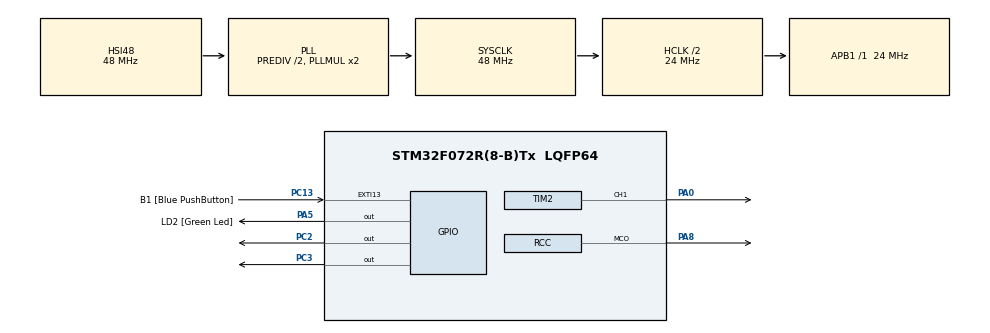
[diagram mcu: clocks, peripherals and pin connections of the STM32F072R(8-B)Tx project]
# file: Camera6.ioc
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Mcu.Family=STM32F0
Mcu.Name=STM32F072R(8-B)Tx
Mcu.Package=LQFP64
PA0.Signal=S_TIM2_CH1_ETR
PA13.GPIO_Label=TMS
PA13.Mode=Serial_Wire
PA13.Signal=SYS_SWDIO
PA14.GPIO_Label=TCK
PA14.Mode=Serial_Wire
PA14.Signal=SYS_SWCLK
PA2.GPIO_Label=USART_TX
PA2.GPIO_Mode=GPIO_MODE_AF_PP
PA2.GPIO_PuPd=GPIO_NOPULL
PA2.GPIO_Speed=GPIO_SPEED_FREQ_LOW
PA2.Signal=USART2_TX
PA3.GPIO_Label=USART_RX
PA3.GPIO_Mode=GPIO_MODE_AF_PP
PA3.GPIO_PuPd=GPIO_NOPULL
PA3.GPIO_Speed=GPIO_SPEED_FREQ_LOW
PA3.Signal=USART2_RX
PA5.GPIO_Label=LD2 [Green Led]
PA5.GPIO_Mode=GPIO_MODE_OUTPUT_PP
PA5.GPIO_PuPd=GPIO_NOPULL
PA5.GPIO_Speed=GPIO_SPEED_FREQ_LOW
PA5.Signal=GPIO_Output
PA8.GPIO_Speed=GPIO_SPEED_FREQ_HIGH
PA8.Mode=Clock-out
PA8.Signal=RCC_MCO
PC13.GPIO_Label=B1 [Blue PushButton]
PC13.GPIO_ModeDefaultEXTI=GPIO_MODE_IT_FALLING
PC13.Signal=GPXTI13
PC14-OSC32_IN.Signal=RCC_OSC32_IN
PC15-OSC32_OUT.Signal=RCC_OSC32_OUT
PC2.GPIO_ModeDefaultOutputPP=GPIO_MODE_OUTPUT_OD
PC2.GPIO_PuPd=GPIO_NOPULL
PC2.Signal=GPIO_Output
PC3.GPIO_ModeDefaultOutputPP=GPIO_MODE_OUTPUT_OD
PC3.GPIO_PuPd=GPIO_NOPULL
PC3.Signal=GPIO_Output
PF0-OSC_IN.Mode=HSE-External-Oscillator
PF0-OSC_IN.Signal=RCC_OSC_IN
PF1-OSC_OUT.Mode=HSE-External-Oscillator
PF1-OSC_OUT.Signal=RCC_OSC_OUT
ProjectManager.HeapSize=0x200
ProjectManager.StackSize=0x400
ProjectManager.TargetToolchain=STM32CubeIDE
RCC.AHBCLKDivider=RCC_SYSCLK_DIV2
RCC.AHBFreq_Value=24000000
RCC.APB1Freq_Value=24000000
RCC.APB1TimFreq_Value=24000000
RCC.FLatency-AdvancedSettings=FLASH_LATENCY_1
RCC.HCLKFreq_Value=24000000
RCC.HSE_VALUE=32000000
RCC.PLLDivider=RCC_PREDIV_DIV2
RCC.PLLSourceVirtual=RCC_PLLSOURCE_HSI48
RCC.PREFETCH_ENABLE-AdvancedSettings=1
RCC.RCC_MCODiv=RCC_MCODIV_2
RCC.RCC_MCOSource=RCC_MCO1SOURCE_PLLCLK
RCC.SYSCLKFreq_VALUE=48000000
RCC.SYSCLKSource=RCC_SYSCLKSOURCE_PLLCLK
SH.S_TIM2_CH1_ETR.0=TIM2_CH1,PWM Generation1 CH1
TIM2.AutoReloadPreload=TIM_AUTORELOAD_PRELOAD_ENABLE
TIM2.Channel-PWM\ Generation1\ CH1=TIM_CHANNEL_1
TIM2.Period=1
VP_TIM2_VS_ClockSourceINT.Mode=Internal
board=NUCLEO-F072RB

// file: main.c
/* USER CODE BEGIN Header */
/**
  ******************************************************************************
  * @file           : main.c
  * @brief          : Main program body
  ******************************************************************************
  * @attention
  *
  * Copyright (c) 2024 STMicroelectronics.
  * All rights reserved.
  *
  * This software is licensed under terms that can be found in the LICENSE file
  * in the root directory of this software component.
  * If no LICENSE file comes with this software, it is provided AS-IS.
  *
  ******************************************************************************
  */
/* USER CODE END Header */
#include "main.h"
#include "camera_regs.h"

TIM_HandleTypeDef htim2;

void SystemClock_Config(void);
static void MX_GPIO_Init(void);
static void MX_TIM2_Init(void);

/* USER CODE BEGIN 0 */

// This code can be used as simple configurator for camera OV7670 from device Nucleo-F072RB over SCCB (I2C).
// (For example to get raw data from generated timings in expect mode assure by device like VGA,QVGA,QQVGA & RGB,YUV).
// RCC-MCO (PA8) have clock configured to 24MHz.
// PC2/PC3 GPIO have Open - Drain.
// Pin (Device - Camera): PC2 - SDA, PC3 - SCL, PA8 - XCLK, RESET - 3.3V, PWDN - GND (Power 3.3V).
// Tested device have added 4,7k resistors to pull-up for SDA/SCL.

// Very Thanks Good Man qitas
// https://raw.githubusercontent.com/qitas/NBCoAP/110fb9c6017a120977071c8e182acabf60b56c00/SYS/SCCB.c
// https://raw.githubusercontent.com/qitas/NBCoAP/110fb9c6017a120977071c8e182acabf60b56c00/SYS/SCCB.h

#define SCCB_ID_W 0x42
#define SCCB_ID_R 0x43
#define OV7670_OK 0
#define OV7670_ERROR 1
#define HALDELAY 50

typedef unsigned char u8;

static void delay_us(unsigned int us)
{
//	int len; for (;us > 0; us --) for (len = 0; len < 20; len++ );
	int len; for (;us > 0; us --) HAL_GetTick();
//	HAL_Delay(us);
//	uint32_t tickstart = HAL_GetTick();
//	uint32_t wait = us;
//
//	/* Add a period to guaranty minimum wait */
//	if (wait < HAL_MAX_DELAY)
//	{
//	wait += (uint32_t)(uwTickFreq);
//	}
//
//	while((HAL_GetTick() - tickstart) < wait)
//	{
//	}
}

#define SDA_PORT GPIOC
#define SCL_PORT GPIOC
#define SDA_PORT_PIN GPIO_PIN_2
#define SCL_PORT_PIN GPIO_PIN_3

#define SDA_IN()  SDAPortIN()
#define SDA_OUT() SDAPortOUT();

#define SDA_H  HAL_GPIO_WritePin(SDA_PORT, SDA_PORT_PIN, GPIO_PIN_SET)
#define SDA_L  HAL_GPIO_WritePin(SDA_PORT, SDA_PORT_PIN, GPIO_PIN_RESET)

#define SCL_H  HAL_GPIO_WritePin(SCL_PORT, SCL_PORT_PIN, GPIO_PIN_SET)
#define SCL_L  HAL_GPIO_WritePin(SCL_PORT, SCL_PORT_PIN, GPIO_PIN_RESET)

#define READ_SDA HAL_GPIO_ReadPin(SDA_PORT, SDA_PORT_PIN)

static void SDAPortIN(void)
{
	GPIO_InitTypeDef  GPIO_InitStructure;
	memset(&GPIO_InitStructure,0x0,sizeof(GPIO_InitStructure));
	GPIO_InitStructure.Pin = SDA_PORT_PIN;
	GPIO_InitStructure.Speed = GPIO_SPEED_LOW;
	GPIO_InitStructure.Mode =  GPIO_MODE_INPUT;
	GPIO_InitStructure.Pull =  GPIO_NOPULL;
//	GPIO_InitStructure.Pull =  GPIO_PULLUP;
//	GPIO_InitStructure.Pull =  GPIO_PULLDOWN;
	HAL_GPIO_Init(SDA_PORT,&GPIO_InitStructure);
}

static void SDAPortOUT(void)
{
	GPIO_InitTypeDef  GPIO_InitStructure;
	memset(&GPIO_InitStructure,0x0,sizeof(GPIO_InitStructure));
	GPIO_InitStructure.Pin = SDA_PORT_PIN;
	GPIO_InitStructure.Speed = GPIO_SPEED_LOW;
	GPIO_InitStructure.Mode =  GPIO_MODE_OUTPUT_PP;
	HAL_GPIO_Init(SDA_PORT,&GPIO_InitStructure);
}

#define SIO_D_SET			SDA_H
#define SIO_C_SET			SCL_H
#define SIO_D_CLR			SDA_L
#define SIO_C_CLR			SCL_L

#define SIO_D_IN			SDAPortIN()
#define SIO_D_OUT			SDAPortOUT()
#define SIO_D_STATE			READ_SDA

#define SIO_D_SET			SDA_H
#define SIO_C_SET			SCL_H
#define SIO_D_CLR			SDA_L
#define SIO_C_CLR			SCL_L

#define SIO_D_IN			SDAPortIN()
#define SIO_D_OUT			SDAPortOUT()
#define SIO_D_STATE			READ_SDA

void SCCB_Start(void)
{
//	SDA_H;
//	SCL_H;
//	delay_us(HALDELAY);
	SDA_H;
	SCL_H;
	delay_us(HALDELAY);
//	SDA_L;
	SDA_L;
	delay_us(HALDELAY);
//	SCL_L;
	SCL_L;
}

void SCCB_Stop(void)
{
//	SDA_L;
	SDA_L;
	delay_us(HALDELAY);
//	SCL_H;
	SCL_H;
	delay_us(HALDELAY);
//	SDA_H;
	SDA_H;
	delay_us(HALDELAY);
}

void SCCB_Ack(void)
{
	delay_us(HALDELAY);
	SDA_H;
	SCL_H;
	SDA_H;
	SCL_H;
	delay_us(HALDELAY);
	//SCL_L;
	SCL_L;
	delay_us(HALDELAY);
	//SDA_L;
	SDA_L;
	delay_us(HALDELAY);
}

void SCCB_No_Ack(void)
{
	delay_us(HALDELAY);
	//SDA_H;
	//SCL_H;
	SDA_H;
	SCL_H;
	delay_us(HALDELAY);
	//SCL_L;
	SCL_L;
	delay_us(HALDELAY);
	//SDA_L;
	SDA_L;
	delay_us(HALDELAY);
}

u8 SCCB_WR_Byte(u8 dat)
{
	u8 j,res;
	for(j=0;j<8;j++)
	{
		if(dat&0x80)
		{
			SDA_H;
		}
		else
		{
			SDA_L;
		}
		dat<<=1;
		delay_us(HALDELAY);
		SCL_H;
		delay_us(HALDELAY);
		SCL_L;
	}
	SDAPortIN();
	delay_us(HALDELAY);
	SCL_H;
	delay_us(HALDELAY);
	if(READ_SDA)res=OV7670_OK;
	else res=OV7670_ERROR;
	SCL_L;
	SDAPortOUT();
	return res;
}

u8 SCCB_RD_Byte(void)
{
	u8 temp=0,j;
	SDA_IN();
	for(j=8;j>0;j--)
	{
		delay_us(HALDELAY);
		SCL_H;
		temp=temp<<1;
		if(READ_SDA)temp++;
		delay_us(HALDELAY);
		SCL_L;
	}
	SDA_OUT();
	return temp;
}

u8 _sccbw(u8 reg,u8 data)
{
	u8 res=0;
	SCCB_Start();
	if(SCCB_WR_Byte(SCCB_ID_W)) res=OV7670_OK;
	delay_us(HALDELAY);
	if(SCCB_WR_Byte(reg)) res=OV7670_OK;
	delay_us(HALDELAY);
	if(SCCB_WR_Byte(data)) res=OV7670_OK;
	SCCB_Stop();
	return res;
}

u8 _sccbr(u8 reg, u8*data)
{
	u8 val=0;
	SCCB_Start();
//	SCCB_WR_Byte(SCCB_ID_W | 0x01);
	SCCB_WR_Byte(SCCB_ID_W);
//	delay_us(HALDELAY);
	SCCB_WR_Byte(reg);
//	delay_us(HALDELAY);
	SCCB_Stop();
//	delay_us(HALDELAY);
	SCCB_Start();
	SCCB_WR_Byte(SCCB_ID_R);
//	delay_us(HALDELAY);
//	SCCB_WR_Byte(0x00);
//	SCCB_Stop();
//	delay_us(HALDELAY);
//	SCCB_Start();
	*data=SCCB_RD_Byte();
	SCCB_Ack();
//	SCCB_No_Ack();
	SCCB_Stop();
	return OV7670_OK;
}

// based on https://github.com/coelamon/stm32f4_ov7670_uvc/tree/master/OV7670

void Camera_SignalError()
{
	for (int i = 0; i < 3; i++)
	{
		HAL_GPIO_WritePin(GPIOA, GPIO_PIN_5, GPIO_PIN_SET);
		HAL_Delay(100);
		HAL_GPIO_WritePin(GPIOA, GPIO_PIN_5, GPIO_PIN_RESET);
		HAL_Delay(100);
	}
	HAL_GPIO_WritePin(GPIOA, GPIO_PIN_5, GPIO_PIN_RESET);
}

int OV7670_ReadReg(uint8_t regAddr, uint8_t *pData)
{
	if (_sccbr (regAddr, pData) == OV7670_OK)
	{
		return OV7670_OK;
	}
	else
	{
		return OV7670_ERROR;
	}
}

int OV7670_WriteReg(uint8_t regAddr, uint8_t pData)
{
	if (_sccbw  (regAddr, pData) == OV7670_OK)
	{
		return OV7670_OK;
	}
	else
	{
		return OV7670_ERROR;
	}
}

int OV7670_WriteRegList(const struct regval_t *reg_list)
{
	const struct regval_t *pReg = reg_list;
	while (pReg->reg_addr != 0xFF && pReg->value != 0xFF)
	{
		int write_result = OV7670_WriteReg(pReg->reg_addr, pReg->value);
		if (write_result != OV7670_OK)
		{
			return write_result;
		}
		pReg++;
	}
	return OV7670_OK;
}

int OV7670_Reset()
{
	HAL_Delay(100);
	uint8_t data = COM7_RESET;
	if (OV7670_WriteReg(REG_COM7, data) != OV7670_OK)
	{
		return OV7670_ERROR;
	}
	HAL_Delay(100);
	return OV7670_OK;
}

int OV7670_Config()
{
	int ov_reset_result = OV7670_Reset();
	if (ov_reset_result != OV7670_OK)
	{
		return ov_reset_result;
	}
	int ov_read_reg_result = OV7670_ERROR;
	int ov_write_reg_result = OV7670_ERROR;

	ov_write_reg_result = OV7670_WriteRegList(ov7670_default_regs);
	if (ov_write_reg_result != OV7670_OK)
	{
		return ov_write_reg_result;
	}

	uint8_t ov_com3 = 0x04; // REG_COM3 enable scaling
	ov_write_reg_result = OV7670_WriteReg(REG_COM3, ov_com3);
	if (ov_write_reg_result != OV7670_OK)
	{
		return ov_write_reg_result;
	}

	ov_write_reg_result = OV7670_WriteRegList(vga_ov7670);
	if (ov_write_reg_result != OV7670_OK)
	{
		return ov_write_reg_result;
	}

	ov_write_reg_result = OV7670_WriteRegList(yuv422_ov7670);
	if (ov_write_reg_result != OV7670_OK)
	{
		return ov_write_reg_result;
	}

	// configure PCLK to 24MHz

	uint8_t ov_clk_rc = 0;
	ov_read_reg_result = OV7670_ReadReg(REG_CLKRC, &ov_clk_rc);
	if (ov_read_reg_result != OV7670_OK)
	{
		return ov_read_reg_result;
	}
//	ov_clk_rc = (ov_clk_rc & 0x80) | 0x01; // to enable prescaler by 2
	ov_clk_rc = (ov_clk_rc & 0x80) | 0x00;
	ov_write_reg_result = OV7670_WriteReg(REG_CLKRC, ov_clk_rc);
	if (ov_write_reg_result != OV7670_OK)
	{
		return ov_write_reg_result;
	}

	uint8_t ov_dblv = 0;
	ov_read_reg_result = OV7670_ReadReg(REG_DBLV, &ov_dblv);
	if (ov_read_reg_result != OV7670_OK)
	{
		return ov_read_reg_result;
	}
//	ov_dblv = (ov_dblv & 0x3F) | DBLV_PLL6; // to enable PLL x6
	ov_dblv = (ov_dblv & 0x3F) | 0x00;
	ov_write_reg_result = OV7670_WriteReg(REG_DBLV, ov_dblv);
	if (ov_write_reg_result != OV7670_OK)
	{
		return ov_write_reg_result;
	}

	// after all, read default values (the same as in datasheet)
	uint8_t ov_info = 0;
	HAL_Delay(100);
	ov_read_reg_result = OV7670_ReadReg(0x1c, &ov_info); // MIDH - 0x7F
	HAL_Delay(100);
	ov_read_reg_result = OV7670_ReadReg(0x1d, &ov_info); // MIDL - 0xA2
	HAL_Delay(100);
	ov_read_reg_result = OV7670_ReadReg(0x0a, &ov_info); // PID - 0x76
	HAL_Delay(100);
	ov_read_reg_result = OV7670_ReadReg(0x0b, &ov_info); // VER - 0x73

	return OV7670_OK;
}

/* USER CODE END 0 */

int main(void)
{

  /* MCU Configuration--------------------------------------------------------*/

  /* Reset of all peripherals, Initializes the Flash interface and the Systick. */
  HAL_Init();

  /* Configure the system clock */
  SystemClock_Config();

  /* Initialize all configured peripherals */
  MX_GPIO_Init();
  MX_TIM2_Init();

  HAL_TIM_PWM_Start(&htim2, TIM_CHANNEL_1);
  //TIM2->CCR1 = 1; // clock a0 ~83ns
  /* USER CODE END WHILE */
  if (OV7670_Config() == OV7670_ERROR) {
	  while (1) {
		  Camera_SignalError();
	  }
  }
  /* Infinite loop */
  while (1) { };
}

void SystemClock_Config(void)
{
  RCC_OscInitTypeDef RCC_OscInitStruct = {0};
  RCC_ClkInitTypeDef RCC_ClkInitStruct = {0};

  /** Initializes the RCC Oscillators according to the specified parameters
  * in the RCC_OscInitTypeDef structure.
  */
  RCC_OscInitStruct.OscillatorType = RCC_OSCILLATORTYPE_HSI48;
  RCC_OscInitStruct.HSI48State = RCC_HSI48_ON;
  RCC_OscInitStruct.PLL.PLLState = RCC_PLL_ON;
  RCC_OscInitStruct.PLL.PLLSource = RCC_PLLSOURCE_HSI48;
  RCC_OscInitStruct.PLL.PLLMUL = RCC_PLL_MUL2;
  RCC_OscInitStruct.PLL.PREDIV = RCC_PREDIV_DIV2;
  if (HAL_RCC_OscConfig(&RCC_OscInitStruct) != HAL_OK)
  {
    Error_Handler();
  }

  /** Initializes the CPU, AHB and APB buses clocks
  */
  RCC_ClkInitStruct.ClockType = RCC_CLOCKTYPE_HCLK|RCC_CLOCKTYPE_SYSCLK
                              |RCC_CLOCKTYPE_PCLK1;
  RCC_ClkInitStruct.SYSCLKSource = RCC_SYSCLKSOURCE_PLLCLK;
  RCC_ClkInitStruct.AHBCLKDivider = RCC_SYSCLK_DIV2;
  RCC_ClkInitStruct.APB1CLKDivider = RCC_HCLK_DIV1;

  if (HAL_RCC_ClockConfig(&RCC_ClkInitStruct, FLASH_LATENCY_1) != HAL_OK)
  {
    Error_Handler();
  }
  HAL_RCC_MCOConfig(RCC_MCO, RCC_MCO1SOURCE_PLLCLK, RCC_MCODIV_2);
}

static void MX_TIM2_Init(void)
{

  TIM_ClockConfigTypeDef sClockSourceConfig = {0};
  TIM_MasterConfigTypeDef sMasterConfig = {0};
  TIM_OC_InitTypeDef sConfigOC = {0};

  htim2.Instance = TIM2;
  htim2.Init.Prescaler = 0;
  htim2.Init.CounterMode = TIM_COUNTERMODE_UP;
  htim2.Init.Period = 1;
  htim2.Init.ClockDivision = TIM_CLOCKDIVISION_DIV1;
  htim2.Init.AutoReloadPreload = TIM_AUTORELOAD_PRELOAD_ENABLE;
  if (HAL_TIM_Base_Init(&htim2) != HAL_OK)
  {
    Error_Handler();
  }
  sClockSourceConfig.ClockSource = TIM_CLOCKSOURCE_INTERNAL;
  if (HAL_TIM_ConfigClockSource(&htim2, &sClockSourceConfig) != HAL_OK)
  {
    Error_Handler();
  }
  if (HAL_TIM_PWM_Init(&htim2) != HAL_OK)
  {
    Error_Handler();
  }
  sMasterConfig.MasterOutputTrigger = TIM_TRGO_RESET;
  sMasterConfig.MasterSlaveMode = TIM_MASTERSLAVEMODE_DISABLE;
  if (HAL_TIMEx_MasterConfigSynchronization(&htim2, &sMasterConfig) != HAL_OK)
  {
    Error_Handler();
  }
  sConfigOC.OCMode = TIM_OCMODE_PWM1;
  sConfigOC.Pulse = 0;
  sConfigOC.OCPolarity = TIM_OCPOLARITY_HIGH;
  sConfigOC.OCFastMode = TIM_OCFAST_DISABLE;
  if (HAL_TIM_PWM_ConfigChannel(&htim2, &sConfigOC, TIM_CHANNEL_1) != HAL_OK)
  {
    Error_Handler();
  }
  HAL_TIM_MspPostInit(&htim2);

}

static void MX_GPIO_Init(void)
{
  GPIO_InitTypeDef GPIO_InitStruct = {0};

  /* GPIO Ports Clock Enable */
  __HAL_RCC_GPIOC_CLK_ENABLE();
  __HAL_RCC_GPIOF_CLK_ENABLE();
  __HAL_RCC_GPIOA_CLK_ENABLE();

  /*Configure GPIO pin Output Level */
  HAL_GPIO_WritePin(GPIOC, GPIO_PIN_2|GPIO_PIN_3, GPIO_PIN_RESET);

  /*Configure GPIO pin Output Level */
  HAL_GPIO_WritePin(LD2_GPIO_Port, LD2_Pin, GPIO_PIN_RESET);

  /*Configure GPIO pin : B1_Pin */
  GPIO_InitStruct.Pin = B1_Pin;
  GPIO_InitStruct.Mode = GPIO_MODE_IT_FALLING;
  GPIO_InitStruct.Pull = GPIO_NOPULL;
  HAL_GPIO_Init(B1_GPIO_Port, &GPIO_InitStruct);

  /*Configure GPIO pins : PC2 PC3 */
  GPIO_InitStruct.Pin = GPIO_PIN_2|GPIO_PIN_3;
  GPIO_InitStruct.Mode = GPIO_MODE_OUTPUT_OD;
  GPIO_InitStruct.Pull = GPIO_NOPULL;
  GPIO_InitStruct.Speed = GPIO_SPEED_FREQ_LOW;
  HAL_GPIO_Init(GPIOC, &GPIO_InitStruct);

  /*Configure GPIO pins : USART_TX_Pin USART_RX_Pin */
  GPIO_InitStruct.Pin = USART_TX_Pin|USART_RX_Pin;
  GPIO_InitStruct.Mode = GPIO_MODE_AF_PP;
  GPIO_InitStruct.Pull = GPIO_NOPULL;
  GPIO_InitStruct.Speed = GPIO_SPEED_FREQ_LOW;
  GPIO_InitStruct.Alternate = GPIO_AF1_USART2;
  HAL_GPIO_Init(GPIOA, &GPIO_InitStruct);

  /*Configure GPIO pin : LD2_Pin */
  GPIO_InitStruct.Pin = LD2_Pin;
  GPIO_InitStruct.Mode = GPIO_MODE_OUTPUT_PP;
  GPIO_InitStruct.Pull = GPIO_NOPULL;
  GPIO_InitStruct.Speed = GPIO_SPEED_FREQ_LOW;
  HAL_GPIO_Init(LD2_GPIO_Port, &GPIO_InitStruct);

  /*Configure GPIO pin : PA8 */
  GPIO_InitStruct.Pin = GPIO_PIN_8;
  GPIO_InitStruct.Mode = GPIO_MODE_AF_PP;
  GPIO_InitStruct.Pull = GPIO_NOPULL;
  GPIO_InitStruct.Speed = GPIO_SPEED_FREQ_HIGH;
  GPIO_InitStruct.Alternate = GPIO_AF0_MCO;
  HAL_GPIO_Init(GPIOA, &GPIO_InitStruct);

}

void Error_Handler(void)
{
  __disable_irq();
  while (1)
  {
  }
}
